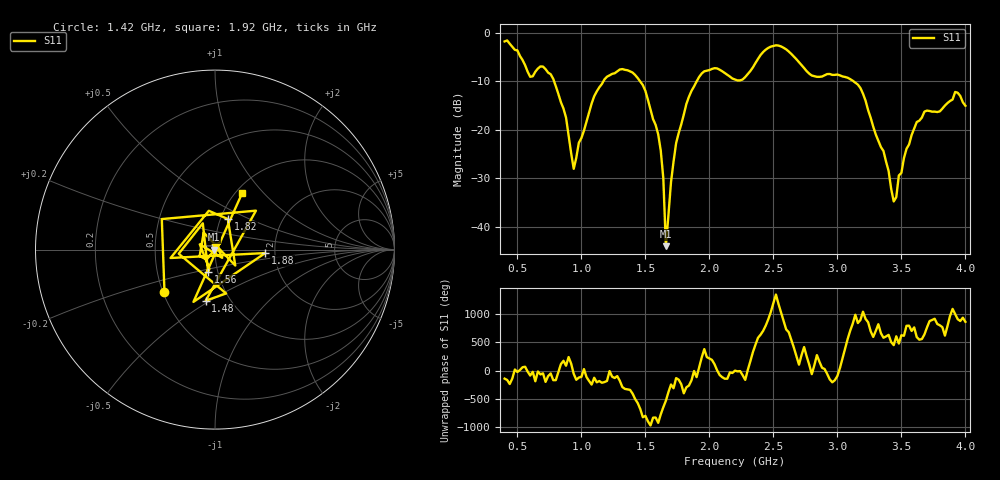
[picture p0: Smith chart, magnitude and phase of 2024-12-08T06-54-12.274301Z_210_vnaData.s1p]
!Created with skrf (http://scikit-rf.org).
# Hz S RI R 50.0
!freq ReS11 ImS11
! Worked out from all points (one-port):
!   181 points, 400 MHz to 4 GHz, reference 50 ohm
!   lowest |S11| = -44.0 dB at 1.66 GHz (marker M1), VSWR 1.01, Z = 49.4 - j0.121 ohm
!   |S11| at or under -10 dB: 786.7 MHz to 1.172 GHz (384.8 MHz wide, 39.3 % of centre); 1.459 GHz to 1.901 GHz (441.5 MHz wide, 26.3 % of centre); 3.126 GHz to end of sweep
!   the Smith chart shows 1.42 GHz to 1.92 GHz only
!   S11 on the Smith chart (normalised r, x): 1.42 GHz: 0.51, -0.28; 1.48 GHz: 0.77, -0.48; 1.56 GHz: 0.90, -0.22; 1.82 GHz: 1.08, +0.38; 1.88 GHz: 1.77, -0.07; 1.92 GHz: 1.07, +0.77
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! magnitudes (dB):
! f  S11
! 400 MHz  -1.8
! 600 MHz  -9.1
! 760 MHz  -8.5
! 860 MHz  -15.6
! 940 MHz  -28.0
! 1.1 GHz  -13.1
! 1.3 GHz  -7.6
! 1.42 GHz  -8.7
! 1.48 GHz  -10.8
! 1.56 GHz  -17.8
! 1.62 GHz  -24.3
! 1.64 GHz  -30.0
! 1.66 GHz  -44.0
! 1.7 GHz  -30.8
! 1.76 GHz  -20.7
! 1.82 GHz  -14.7
! 1.88 GHz  -11.0
! 1.92 GHz  -9.1
! 2.2 GHz  -9.6
! 2.48 GHz  -2.8
! 2.66 GHz  -4.9
! 3.1 GHz  -9.5
! 3.36 GHz  -24.3
! 3.44 GHz  -34.7
! 3.56 GHz  -23.0
! 3.68 GHz  -16.2
! 3.92 GHz  -12.2
! 4 GHz  -15.0
